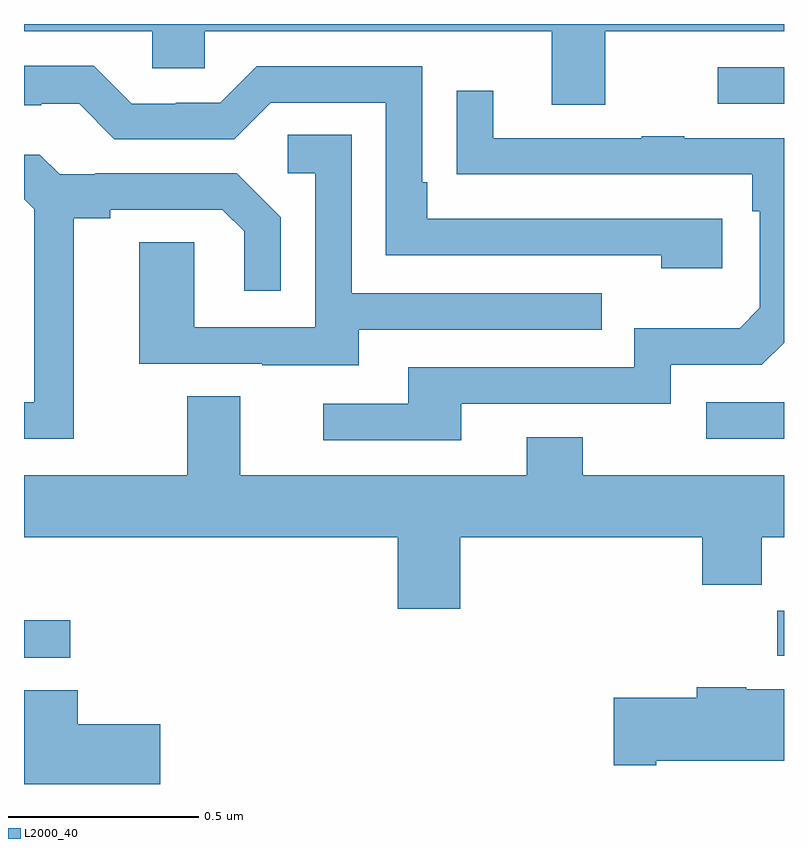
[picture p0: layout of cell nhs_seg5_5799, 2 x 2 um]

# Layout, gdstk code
import gdstk
lib = gdstk.Library(unit=1e-6, precision=1e-09)
def R(c, l, rs):  # rectangles x0, y0, x1, y1
    for r in rs: c.add(gdstk.rectangle(r[:2], r[2:], *l))
def P(c, l, *ps):  # polygons
    for p in ps: c.add(gdstk.Polygon(p, *l))
L2000_40 = (2000, 40)

nhs_seg5_5799 = lib.new_cell('nhs_seg5_5799')
R(nhs_seg5_5799, L2000_40, [(188,835.131,188.122,835.23), (189.982,835.136,190,835.255), (189.795,835.707,190,835.803), (189.825,836.589,190,836.685)])
P(nhs_seg5_5799, L2000_40, [(189.529,836.78),(190,836.78),(190,836.799),(188,836.799),(188,836.78),(188.337,836.78),(188.337,836.682),(188.475,836.682),(188.475,836.78),(189.389,836.78),(189.389,836.586),(189.529,836.586)],
  [(189.838,836.286),(189.061,836.286),(189.061,836.383),(189.048,836.383),(189.048,836.688),(188.613,836.688),(188.517,836.592),(188.399,836.592),(188.399,836.589),(188.283,836.589),(188.183,836.689),(188,836.689),(188,836.585),(188.045,836.585),(188.045,836.589),(188.145,836.589),(188.238,836.496),(188.553,836.496),(188.649,836.592),(188.952,836.592),(188.952,836.19),(189.677,836.19),(189.677,836.156),(189.838,836.156)],
  [(189.151,835.8),(189.702,835.8),(189.702,835.902),(189.942,835.902),(190,835.96),(190,836.499),(189.737,836.499),(189.737,836.504),(189.625,836.504),(189.625,836.499),(189.235,836.499),(189.235,836.623),(189.139,836.623),(189.139,836.404),(189.241,836.404),(189.241,836.403),(189.916,836.403),(189.916,836.306),(189.936,836.306),(189.936,836.052),(189.883,835.999),(189.606,835.999),(189.606,835.896),(189.011,835.896),(189.011,835.8),(188.787,835.8),(188.787,835.704),(189.151,835.704)],
  [(188.881,835.995),(189.521,835.995),(189.521,836.091),(188.862,836.091),(188.862,836.507),(188.694,836.507),(188.694,836.406),(188.766,836.406),(188.766,836.001),(188.448,836.001),(188.448,836.225),(188.303,836.225),(188.303,835.905),(188.627,835.905),(188.627,835.901),(188.881,835.901)],
  [(188.131,836.288),(188.227,836.288),(188.227,836.31),(188.522,836.31),(188.579,836.253),(188.579,836.097),(188.676,836.097),(188.676,836.29),(188.56,836.406),(188.188,836.406),(188.188,836.403),(188.094,836.403),(188.042,836.455),(188,836.455),(188,836.338),(188.027,836.311),(188.027,835.803),(188,835.803),(188,835.707),(188.131,835.707)],
  [(189.148,835.448),(189.785,835.448),(189.785,835.324),(189.941,835.324),(189.941,835.448),(190,835.448),(190,835.612),(189.471,835.612),(189.471,835.711),(189.323,835.711),(189.323,835.612),(188.569,835.612),(188.569,835.82),(188.429,835.82),(188.429,835.612),(188,835.612),(188,835.448),(188.984,835.448),(188.984,835.26),(189.148,835.26)],
  [(189.664,834.86),(190,834.86),(190,835.048),(189.9,835.048),(189.9,835.054),(189.77,835.054),(189.77,835.026),(189.552,835.026),(189.552,834.848),(189.664,834.848)],
  [(188.359,834.956),(188.141,834.956),(188.141,835.046),(188,835.046),(188,834.799),(188.359,834.799)])

lib.write_gds('nhs_seg5_5799.gds')
